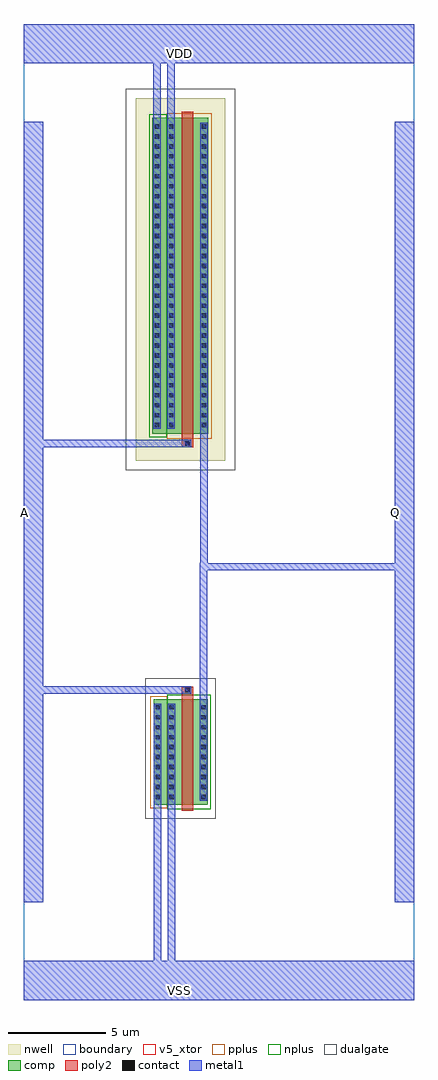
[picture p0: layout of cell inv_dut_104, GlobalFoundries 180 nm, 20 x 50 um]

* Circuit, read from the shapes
.subckt inv_dut_104 A Q VDD VSS
XM1 Q A VSS VSS nfet_05v0 w=5.4u l=0.6u
XM2 Q A VDD VDD pfet_05v0 w=16.2u l=0.6u
.ends

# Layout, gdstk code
import gdstk
lib = gdstk.Library(unit=1e-6, precision=1e-09)
def R(c, l, rs):  # rectangles x0, y0, x1, y1
    for r in rs: c.add(gdstk.rectangle(r[:2], r[2:], *l))
def A(c, l, x, y, w, h, nx, ny, dx, dy):  # array of equal rectangles
    R(c, l, [(x+i*dx, y+j*dy, x+i*dx+w, y+j*dy+h) for i in range(nx) for j in range(ny)])
def P(c, l, *ps):  # polygons
    for p in ps: c.add(gdstk.Polygon(p, *l))
boundary = (0, 0)
nwell = (21, 0)
comp = (22, 0)
poly2 = (30, 0)
pplus = (31, 0)
nplus = (32, 0)
contact = (33, 0)
metal1 = (34, 0)
dualgate = (55, 0)
v5_xtor = (112, 1)

inv_dut_104 = lib.new_cell('inv_dut_104')
R(inv_dut_104, boundary, [(-10,-25,10,25)])
R(inv_dut_104, nwell, [(-4.27,2.63,0.32,21.19)])
R(inv_dut_104, comp, [(-3.35,-15,-0.58,-9.6), (-3.41,4,-0.54,20.2)])
R(inv_dut_104, poly2, [(-1.91,-15.3,-1.31,-8.94), (-1.91,3.32,-1.31,20.5)])
R(inv_dut_104, pplus, [(-3.52,-15.17,-2.64,-9.43), (-2.68,3.76,-0.37,20.44)])
R(inv_dut_104, nplus, [(-2.64,-15.24,-0.41,-9.36), (-3.58,3.83,-2.68,20.37)])
A(inv_dut_104, contact, -3.25, -14.705, 0.22, 0.22, 1, 10, 0, 0.51)
A(inv_dut_104, contact, -2.54, -14.705, 0.22, 0.22, 1, 10, 0, 0.51)
A(inv_dut_104, contact, -0.9, -14.705, 0.22, 0.22, 1, 10, 0, 0.51)
A(inv_dut_104, contact, -3.29, 4.34, 0.22, 0.22, 1, 31, 0, 0.51)
A(inv_dut_104, contact, -2.56, 4.34, 0.22, 0.22, 1, 31, 0, 0.51)
A(inv_dut_104, contact, -0.88, 4.34, 0.22, 0.22, 1, 31, 0, 0.51)
R(inv_dut_104, contact, [(-1.72,-9.23,-1.5,-9.01), (-1.72,3.4,-1.5,3.62)])
P(inv_dut_104, metal1, [(-10,-25),(-10,-23),(-3.33,-23),(-3.33,-9.815),(-2.95,-9.815),(-2.95,-23),(-2.62,-23),(-2.62,-9.815),(-2.24,-9.815),(-2.24,-23),(10,-23),(10,-25)],
  [(-10,-20),(-10,20),(-9,20),(-9,3.7),(-1.42,3.7),(-1.42,3.32),(-9,3.32),(-9,-8.93),(-1.42,-8.93),(-1.42,-9.31),(-9,-9.31),(-9,-20)],
  [(9,-20),(9,-2.995),(-0.6,-2.995),(-0.6,-14.785),(-0.98,-14.785),(-0.98,-2.615),(-0.96,-2.615),(-0.96,19.94),(-0.58,19.94),(-0.58,-2.615),(9,-2.615),(9,20),(10,20),(10,-20)],
  [(-3.37,4.26),(-3.37,23),(-10,23),(-10,25),(10,25),(10,23),(-2.26,23),(-2.26,4.26),(-2.64,4.26),(-2.64,23),(-2.99,23),(-2.99,4.26)])
R(inv_dut_104, dualgate, [(-3.77,-15.71,-0.16,-8.52), (-4.77,2.13,0.82,21.69)])
R(inv_dut_104, v5_xtor, [(-3.77,-15.71,-0.16,-8.52), (-4.77,2.13,0.82,21.69)])
inv_dut_104.add(gdstk.Label('VDD', (-2,23.5), layer=34, texttype=10))
inv_dut_104.add(gdstk.Label('VSS', (-2,-24.5), layer=34, texttype=10))
inv_dut_104.add(gdstk.Label('A', (-9.97,0), layer=34, texttype=10))
inv_dut_104.add(gdstk.Label('Q', (9.03,0), layer=34, texttype=10))

lib.write_gds('inv_dut_104.gds')
